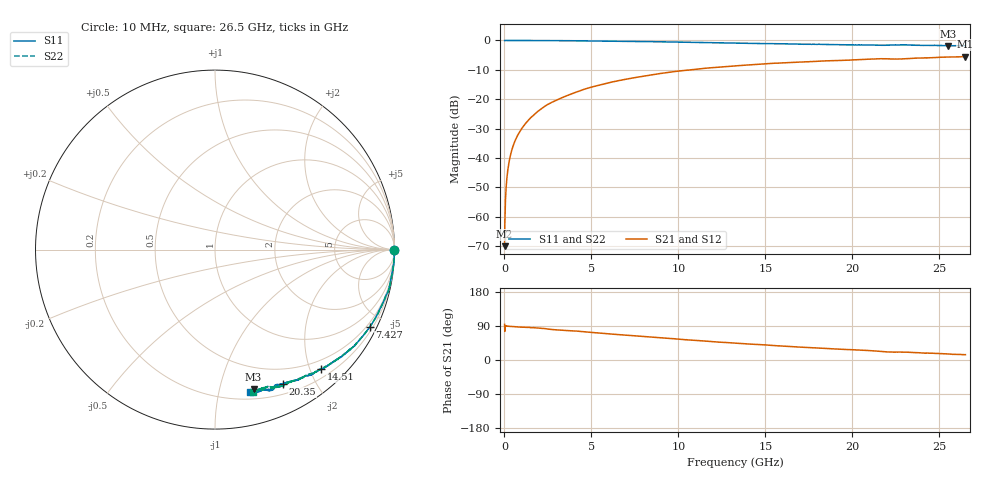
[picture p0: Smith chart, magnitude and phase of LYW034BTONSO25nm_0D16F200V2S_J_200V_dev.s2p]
!Keysight Technologies,N5222B,MY61253708,A.15.00.15
!Date: Wednesday, June 19, 2024 10:43:31
!Correction: S11(C  2-Port  )
!S21(C  2-Port  )
!S12(C  2-Port  )
!S22(C  2-Port  )
!S2P File: Measurements: S11, S21, S12, S22:
# Hz S  RI  R 50
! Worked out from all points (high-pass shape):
!   2651 points, 10 MHz to 26.5 GHz, reference 50 ohm
!   highest |S21| = -5.47 dB at 26.5 GHz (marker M1); lowest = -70.0 dB at 10 MHz (marker M2)
!   |S21| within 3 dB of the highest: 13.64397 GHz to 13.64951 GHz (5.539 MHz wide, 0.0406 % of centre); 13.7 GHz to end of sweep
!   lowest |S11| = -1.9 dB at 25.5 GHz (marker M3), VSWR 9.37, Z = 14.3 - j63.7 ohm
!   |S11| at or under -10 dB: nowhere
!   |S22| runs from -1.8 to 0.0 dB; largest |S21 - S12| = 0.0072
!   S11 on the Smith chart (normalised r, x): 10 MHz: open; 7.427 GHz: 0.34, -4.19; 14.51 GHz: 0.34, -2.18; 20.35 GHz: 0.31, -1.58; 26.5 GHz: 0.26, -1.24
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1e7  0.9981 -0.00356  -2.25e-05 0.000316  5.7e-05 0.000264  0.9984 -0.00183
1.599434e8  0.9999 -0.0112  7.25e-05 0.00516  3.95e-05 0.00517  0.9997 -0.0103
1.999283e8  1 -0.0133  8.44e-05 0.00643  0.000113 0.00647  0.9999 -0.0124
2.599057e8  0.9997 -0.0173  0.000107 0.00837  0.000165 0.00842  0.9998 -0.0163
3.598679e8  0.9995 -0.0242  0.000281 0.0116  0.000302 0.0116  0.9998 -0.0232
4.898189e8  0.9986 -0.0325  0.0005 0.0158  0.000501 0.0158  0.9983 -0.0311
6.397623e8  0.9985 -0.0417  0.000825 0.0205  0.000839 0.0206  0.9985 -0.04
8.296906e8  0.9978 -0.0542  0.00141 0.0265  0.00139 0.0266  0.9981 -0.0529
1.449457e9  0.9911 -0.0955  0.00325 0.0466  0.00327 0.0467  0.9934 -0.0912
2.319128e9  0.9826 -0.1481  0.00923 0.0754  0.00936 0.0755  0.9841 -0.1479
3.208792e9  0.9726 -0.2034  0.02 0.1013  0.02 0.1016  0.9734 -0.2014
4.428332e9  0.9452 -0.2753  0.0364 0.1381  0.0366 0.1385  0.9474 -0.2715
5.817808e9  0.9098 -0.3494  0.0643 0.1741  0.065 0.1745  0.9126 -0.3478
7.4272e9  0.8613 -0.4324  0.1012 0.2083  0.1022 0.2084  0.8636 -0.4288
8.846664e9  0.8112 -0.4959  0.139 0.2328  0.14 0.233  0.8138 -0.4924
1.3255e10  0.6396 -0.6384  0.2633 0.2595  0.265 0.259  0.6454 -0.6349
1.451452e10  0.5927 -0.6666  0.2949 0.257  0.2966 0.2561  0.598 -0.6604
1.767333e10  0.4696 -0.7215  0.369 0.2349  0.3717 0.2333  0.4827 -0.7169
2.035232e10  0.3791 -0.7477  0.4222 0.2078  0.4237 0.2058  0.3973 -0.7462
2.209166e10  0.3346 -0.7581  0.453 0.1756  0.4541 0.173  0.3319 -0.7628
2.550038e10  0.2146 -0.7781  0.5033 0.1403  0.5041 0.1405  0.2386 -0.7799
2.65e10  0.1952 -0.7933  0.5169 0.1297  0.5157 0.126  0.2121 -0.7907
